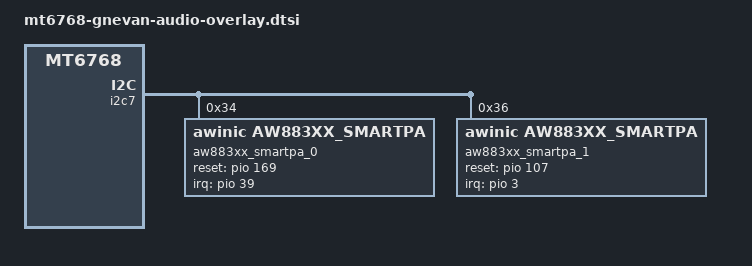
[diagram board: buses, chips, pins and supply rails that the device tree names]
/* Copyright (c) 2020, The Linux Foundation. All rights reserved.
 *
 * This program is free software; you can redistribute it and/or modify
 * it under the terms of the GNU General Public License version 2 and
 * only version 2 as published by the Free Software Foundation.
 *
 * This program is distributed in the hope that it will be useful,
 * but WITHOUT ANY WARRANTY; without even the implied warranty of
 * MERCHANTABILITY or FITNESS FOR A PARTICULAR PURPOSE.  See the
 * GNU General Public License for more details.
 */
&sound {
    compatible = "mediatek,mt6768-mt6358-sound";
    mediatek,platform = <&afe>;
    mtk_spk_i2s_out = <3>;
    mtk_spk_i2s_in = <0>;
    /* mtk_spk_i2s_mck = <3>; */
    mediatek,speaker-codec {
        sound-dai = <&aw883xx_smartpa_0 &aw883xx_smartpa_1>;
    };
};

&i2c7 {
    medaitek,clk_div_ctrl;
    #clock-frequency = <400000>;
    speaker_amp: speaker_amp@34{
        compatible = "mediatek,speaker_amp";
        #sound-dai-cells = <0>;
        reg = <0x34>;
        status = "disable";
    };

    aw883xx_smartpa_0: aw883xx@34 {
        compatible = "awinic,aw883xx_smartpa";
        #sound-dai-cells = <0>;
        reg = <0x34>;
        reset-gpio = <&pio 169 0>;
        irq-gpio = <&pio 39 0>;
        sound-channel = <1>;
        re-min = <1000>;
        re-max = <40000>;
        rename-flag=<1>;
        fade-enable = <1>;
        status = "okay";
    };

    aw883xx_smartpa_1: aw883xx@36 {
        compatible = "awinic,aw883xx_smartpa";
        #sound-dai-cells = <0>;
        reg = <0x36>;
        reset-gpio = <&pio 107 0>;
        irq-gpio = <&pio 3 0>;
        sound-channel = <0>;
        re-min = <1000>;
        re-max = <40000>;
        rename-flag=<1>;
        fade-enable = <1>;
        status = "okay";
    };
};

&pio {
	aud_pins_hacamp_high: aud_pins_hacamp_high  {
		pins_cmd_dat {
			pinmux = <PINMUX_GPIO91__FUNC_GPIO91>;
			slew-rate = <1>;
			output-high;
		};
	};
	aud_pins_hacamp_low: aud_pins_hacamp_low {
		pins_cmd_dat {
			pinmux = <PINMUX_GPIO91__FUNC_GPIO91>;
			slew-rate = <1>;
			output-low;
		};
	};
};

&afe {
		pinctrl-names = "aud_clk_mosi_off",
				"aud_clk_mosi_on",
				"aud_clk_miso_off",
				"aud_clk_miso_on",
				"aud_dat_mosi_off",
				"aud_dat_mosi_on",
				"aud_dat_miso_off",
				"aud_dat_miso_on",
				"aud_gpio_i2s0_off",
				"aud_gpio_i2s0_on",
				"aud_gpio_i2s1_off",
				"aud_gpio_i2s1_on",
				"aud_gpio_i2s2_off",
				"aud_gpio_i2s2_on",
				"aud_gpio_i2s3_off",
				"aud_gpio_i2s3_on",
				"vow_dat_miso_off",
				"vow_dat_miso_on",
				"vow_clk_miso_off",
				"vow_clk_miso_on",
				"hacamp_pullhigh",
				"hacamp_pulllow";
			pinctrl-0 = <&aud_clk_mosi_off>;
			pinctrl-1 = <&aud_clk_mosi_on>;
			pinctrl-2 = <&aud_clk_miso_off>;
			pinctrl-3 = <&aud_clk_miso_on>;
			pinctrl-4 = <&aud_dat_mosi_off>;
			pinctrl-5 = <&aud_dat_mosi_on>;
			pinctrl-6 = <&aud_dat_miso_off>;
			pinctrl-7 = <&aud_dat_miso_on>;
			pinctrl-8 = <&aud_gpio_i2s0_off>;
			pinctrl-9 = <&aud_gpio_i2s0_on>;
			pinctrl-10 = <&aud_gpio_i2s1_off>;
			pinctrl-11 = <&aud_gpio_i2s1_on>;
			pinctrl-12 = <&aud_gpio_i2s2_off>;
			pinctrl-13 = <&aud_gpio_i2s2_on>;
			pinctrl-14 = <&aud_gpio_i2s3_off>;
			pinctrl-15 = <&aud_gpio_i2s3_on>;
			pinctrl-16 = <&vow_dat_miso_off>;
			pinctrl-17 = <&vow_dat_miso_on>;
			pinctrl-18 = <&vow_clk_miso_off>;
			pinctrl-19 = <&vow_clk_miso_on>;
			pinctrl-20 = <&aud_pins_hacamp_high>;
			pinctrl-21 = <&aud_pins_hacamp_low>;
};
